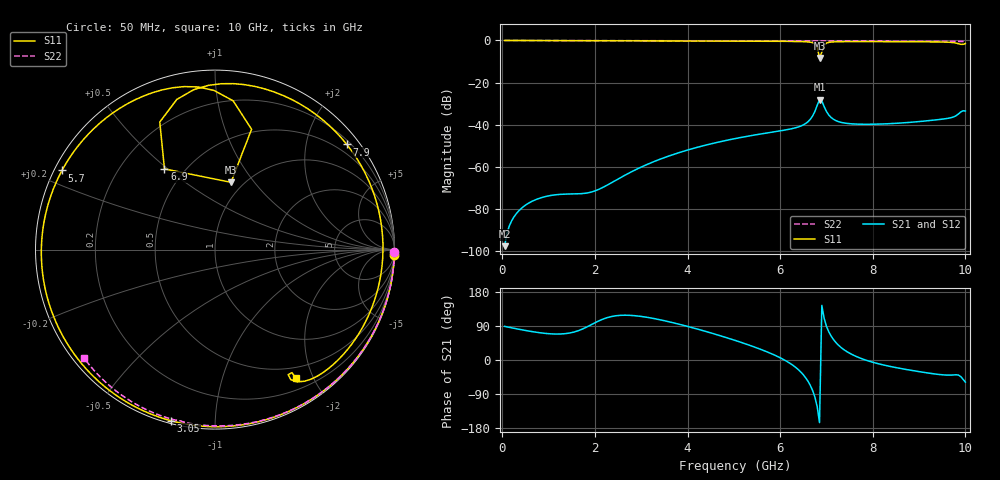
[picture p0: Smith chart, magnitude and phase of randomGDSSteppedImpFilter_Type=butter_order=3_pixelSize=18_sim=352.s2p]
! freq	dB(S11)	phase(S11)	dB(S12)	phase(S12)
!  dB(S21)	phase(S21)	dB(S22)	phase(S22)
!S-par simulation data
#  GHz  S  DB  R 50
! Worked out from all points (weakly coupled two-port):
!   200 points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, 50 MHz to 10 GHz, reference 50 ohm
!   highest |S21| = -28.13 dB at 6.85 GHz (marker M1); lowest = -97.7 dB at 50 MHz (marker M2)
!   lowest |S11| = -8.3 dB at 6.85 GHz (marker M3), VSWR 2.25, Z = 43.9 + j38.6 ohm
!   |S11| at or under -10 dB: nowhere
!   |S22| runs from -0.5 to 0.0 dB; largest |S21 - S12| = 0
!   S11 on the Smith chart (normalised r, x): 50 MHz: 0, -65; 3.05 GHz: 0.01, -0.78; 5.7 GHz: 0.02, +0.24; 6.9 GHz: 0.39, +0.49; 7.9 GHz: 0.28, +2.83; 10 GHz: 0.35, -1.75
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0.05  -0.00 -1.8  -97.70 88.7  -97.70 88.7  -0.00 -0.8
0.4  -0.02 -13.9  -79.98 80.2  -79.98 80.2  -0.01 -6.5
0.85  -0.04 -29.5  -74.61 71.3  -74.61 71.3  -0.02 -13.8
1.75  -0.08 -60.3  -72.68 82.7  -72.68 82.7  -0.04 -28.1
3.05  -0.14 -104.4  -59.63 114.1  -59.63 114.1  -0.06 -48.1
3.4  -0.15 -116.5  -56.45 106.3  -56.45 106.3  -0.07 -53.4
4.3  -0.22 -148.8  -50.23 78.6  -50.23 78.6  -0.09 -66.5
5.05  -0.28 -178.4  -46.50 50.8  -46.50 50.8  -0.12 -77.1
5.7  -0.36 152.6  -43.99 22.3  -43.99 22.3  -0.14 -86.0
6.3  -0.46 121.2  -41.66 -16.2  -41.66 -16.2  -0.17 -94.1
6.7  -1.04 90.4  -35.90 -80.2  -35.90 -80.2  -0.20 -99.4
6.8  -3.09 73.1  -30.83 -123.4  -30.83 -123.4  -0.21 -100.7
6.85  -8.28 76.6  -28.13 -165.2  -28.13 -165.2  -0.23 -101.3
6.9  -5.51 122.1  -28.71 144.2  -28.71 144.2  -0.23 -101.8
7  -1.28 104.3  -33.74 89.1  -33.74 89.1  -0.22 -103.1
7.15  -0.68 87.7  -37.42 54.2  -37.42 54.2  -0.22 -105.0
7.9  -0.54 38.6  -39.81 -2.3  -39.81 -2.3  -0.27 -114.6
8.35  -0.56 13.0  -39.54 -16.4  -39.54 -16.4  -0.31 -120.2
8.85  -0.60 -13.2  -38.81 -27.7  -38.81 -27.7  -0.35 -126.4
9.4  -0.69 -39.5  -37.64 -37.8  -37.64 -37.8  -0.41 -133.2
9.85  -1.53 -59.8  -34.91 -39.8  -34.91 -39.8  -0.46 -138.7
10  -1.48 -57.9  -33.51 -58.3  -33.51 -58.3  -0.47 -140.6
